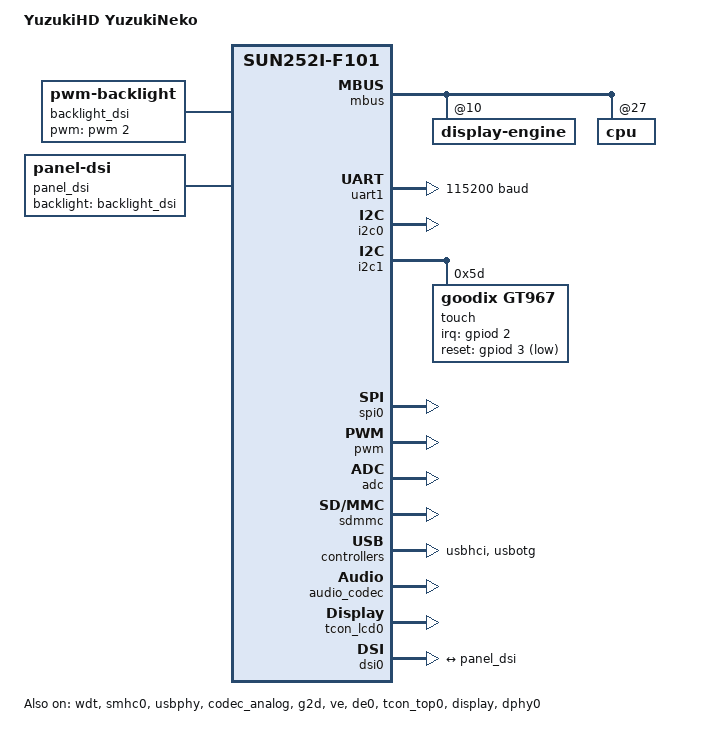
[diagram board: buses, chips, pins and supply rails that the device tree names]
/*
 * Copyright (c) 2026 Yuzuki Tsuru
 *
 * SPDX-License-Identifier: Apache-2.0
 */

/dts-v1/;

#include <allwinner/sun252i_f101.dtsi>
#include <zephyr/dt-bindings/display/sunxi-display.h>
#include <zephyr/dt-bindings/pwm/pwm.h>
#include <zephyr/dt-bindings/misc/sun252i-f101-mbus.h>

/ {
	model = "YuzukiHD YuzukiNeko";
	compatible = "yuzukihd,yuzukineko";

	chosen {
		zephyr,console = &uart1;
		zephyr,shell-uart = &uart1;
		zephyr,sram = &sram0;
		zephyr,display = &display;
		zephyr,touch = &touch;
	};

	aliases {
		i2c-0 = &i2c0;
	};
};

/*
 * Pin groups of the whole board. PD0..PD21 are LCD pins: the RGB panel of the EVB takes all of
 * them (so the DBI and SPI1 on PD0..PD5 stay off), the DSI panel of the carrier board takes
 * PD12..PD21 and PD9 as reset.
 */
&pio {
	/* UART1 console on PB00 (TX) / PB01 (RX), muxsel 4 */
	uart1_pins: uart1_pins {
		uart1_tx_rx {
			pinmux = <ALLWINNER_PINMUX(ALLWINNER_PIO_PB, 0, 4)
				  ALLWINNER_PINMUX(ALLWINNER_PIO_PB, 1, 4)>;
		};
	};

	/* I2C: TWI0 on PE08/PE09 (also UART3 of the EVB), TWI1 on PD0/PD1 (touch), TWI2 on PD10/PD11 */
	twi0_pins: twi0_pins {
		twi0_pins_group {
			pinmux = <ALLWINNER_PINMUX(ALLWINNER_PIO_PE, 8, 4)
				  ALLWINNER_PINMUX(ALLWINNER_PIO_PE, 9, 4)>;
			bias-pull-up;
		};
	};

	twi1_pins: twi1_pins {
		twi1_pins_group {
			pinmux = <ALLWINNER_PINMUX(ALLWINNER_PIO_PD, 0, 4)
				  ALLWINNER_PINMUX(ALLWINNER_PIO_PD, 1, 4)>;
			bias-pull-up;
		};
	};

	twi2_pins: twi2_pins {
		twi2_pins_group {
			pinmux = <ALLWINNER_PINMUX(ALLWINNER_PIO_PD, 10, 4)
				  ALLWINNER_PINMUX(ALLWINNER_PIO_PD, 11, 4)>;
			bias-pull-up;
		};
	};

	/* SPI0 on PC0..PC5 (the SPI NOR flash controller uses the same pins), SPI1 on PD0..PD5 */
	spi0_pins: spi0_pins {
		spi0_data {
			pinmux = <ALLWINNER_PINMUX(ALLWINNER_PIO_PC, 0, 3)
				  ALLWINNER_PINMUX(ALLWINNER_PIO_PC, 4, 3)
				  ALLWINNER_PINMUX(ALLWINNER_PIO_PC, 2, 3)>;
			bias-disable;
		};
		spi0_control {
			pinmux = <ALLWINNER_PINMUX(ALLWINNER_PIO_PC, 1, 3)
				  ALLWINNER_PINMUX(ALLWINNER_PIO_PC, 3, 3)
				  ALLWINNER_PINMUX(ALLWINNER_PIO_PC, 5, 3)>;
			bias-pull-up;
		};
	};

	spi1_pins: spi1_pins {
		spi1_data {
			pinmux = <ALLWINNER_PINMUX(ALLWINNER_PIO_PD, 1, 3)
				  ALLWINNER_PINMUX(ALLWINNER_PIO_PD, 2, 3)
				  ALLWINNER_PINMUX(ALLWINNER_PIO_PD, 3, 3)>;
			bias-disable;
		};
		spi1_control {
			pinmux = <ALLWINNER_PINMUX(ALLWINNER_PIO_PD, 0, 3)
				  ALLWINNER_PINMUX(ALLWINNER_PIO_PD, 4, 3)
				  ALLWINNER_PINMUX(ALLWINNER_PIO_PD, 5, 3)>;
			bias-pull-up;
		};
	};

	/* PWM0-2 on PD22 (carrier board backlight) */
	pwm0_pins: pwm0_pins {
		pwm0_group {
			/* PD22 is PWM0-2 */
			pinmux = <ALLWINNER_PINMUX(ALLWINNER_PIO_PD, 22, 4)>;
		};
	};

	/* MIPI DBI on PD0..PD3/PD5 */
	dbi1_pins: dbi1_pins {
		dbi1_group {
			pinmux = <ALLWINNER_PINMUX(ALLWINNER_PIO_PD, 0, 3)
				  ALLWINNER_PINMUX(ALLWINNER_PIO_PD, 1, 3)
				  ALLWINNER_PINMUX(ALLWINNER_PIO_PD, 2, 3)
				  ALLWINNER_PINMUX(ALLWINNER_PIO_PD, 3, 3)
				  ALLWINNER_PINMUX(ALLWINNER_PIO_PD, 5, 3)>;
			bias-disable;
		};
	};

	/* TF card slot on SMHC0 (PF0..PF5, shared with the JTAG port) */
	smhc0_pins: smhc0_pins {
		smhc0_clk {
			pinmux = <ALLWINNER_PINMUX(ALLWINNER_PIO_PF, 2, 2)>;
			bias-disable;
		};
		smhc0_cmd_data {
			pinmux = <ALLWINNER_PINMUX(ALLWINNER_PIO_PF, 3, 2)
				  ALLWINNER_PINMUX(ALLWINNER_PIO_PF, 1, 2)
				  ALLWINNER_PINMUX(ALLWINNER_PIO_PF, 0, 2)
				  ALLWINNER_PINMUX(ALLWINNER_PIO_PF, 5, 2)
				  ALLWINNER_PINMUX(ALLWINNER_PIO_PF, 4, 2)>;
			bias-pull-up;
		};
	};

	/* RGB panel: 18 bit parallel RGB on PD0..PD9, PD12..PD21, PE6, PE7 */
	rgb_pins: rgb_pins {
		rgb_lcd {
			pinmux = <ALLWINNER_PINMUX(ALLWINNER_PIO_PD, 0, 2)
				  ALLWINNER_PINMUX(ALLWINNER_PIO_PD, 1, 2)
				  ALLWINNER_PINMUX(ALLWINNER_PIO_PD, 2, 2)
				  ALLWINNER_PINMUX(ALLWINNER_PIO_PD, 3, 2)
				  ALLWINNER_PINMUX(ALLWINNER_PIO_PD, 4, 2)
				  ALLWINNER_PINMUX(ALLWINNER_PIO_PD, 5, 2)
				  ALLWINNER_PINMUX(ALLWINNER_PIO_PD, 6, 2)
				  ALLWINNER_PINMUX(ALLWINNER_PIO_PD, 7, 2)
				  ALLWINNER_PINMUX(ALLWINNER_PIO_PD, 8, 2)
				  ALLWINNER_PINMUX(ALLWINNER_PIO_PD, 9, 2)
				  ALLWINNER_PINMUX(ALLWINNER_PIO_PE, 6, 4)
				  ALLWINNER_PINMUX(ALLWINNER_PIO_PE, 7, 4)
				  ALLWINNER_PINMUX(ALLWINNER_PIO_PD, 12, 2)
				  ALLWINNER_PINMUX(ALLWINNER_PIO_PD, 13, 2)
				  ALLWINNER_PINMUX(ALLWINNER_PIO_PD, 14, 2)
				  ALLWINNER_PINMUX(ALLWINNER_PIO_PD, 15, 2)
				  ALLWINNER_PINMUX(ALLWINNER_PIO_PD, 16, 2)
				  ALLWINNER_PINMUX(ALLWINNER_PIO_PD, 17, 2)
				  ALLWINNER_PINMUX(ALLWINNER_PIO_PD, 18, 2)
				  ALLWINNER_PINMUX(ALLWINNER_PIO_PD, 19, 2)
				  ALLWINNER_PINMUX(ALLWINNER_PIO_PD, 20, 2)
				  ALLWINNER_PINMUX(ALLWINNER_PIO_PD, 21, 2)>;
		};
	};

	/* MIPI DSI panel: 4 lanes and the clock on PD12..PD21 */
	dsi_pins: dsi_pins {
		dsi_lanes {
			pinmux = <ALLWINNER_PINMUX(ALLWINNER_PIO_PD, 12, 4)
				  ALLWINNER_PINMUX(ALLWINNER_PIO_PD, 13, 4)
				  ALLWINNER_PINMUX(ALLWINNER_PIO_PD, 14, 4)
				  ALLWINNER_PINMUX(ALLWINNER_PIO_PD, 15, 4)
				  ALLWINNER_PINMUX(ALLWINNER_PIO_PD, 16, 4)
				  ALLWINNER_PINMUX(ALLWINNER_PIO_PD, 17, 4)
				  ALLWINNER_PINMUX(ALLWINNER_PIO_PD, 18, 4)
				  ALLWINNER_PINMUX(ALLWINNER_PIO_PD, 19, 4)
				  ALLWINNER_PINMUX(ALLWINNER_PIO_PD, 20, 4)
				  ALLWINNER_PINMUX(ALLWINNER_PIO_PD, 21, 4)>;
			allwinner,drive-level = <3>;
		};
	};
};

/* System */
&dma {
	status = "okay";
};

&wdt {
	status = "okay";
};

/* DE at top priority, RISCV capped */
&mbus {
	status = "okay";

	display-engine@10 {
		reg = <SUN252I_F101_MBUS_MASTER_DE>;
		priority = <3>;
	};

	cpu@27 {
		reg = <SUN252I_F101_MBUS_MASTER_RISCV>;
		bandwidth-limit-mbps = <500>;
	};
};

/* Console */
&uart1 {
	status = "okay";
	current-speed = <115200>;
	pinctrl-0 = <&uart1_pins>;
	pinctrl-names = "default";
};

/* Buses and converters */
&i2c0 {
	status = "okay";
	pinctrl-0 = <&twi0_pins>;
	pinctrl-names = "default";
};

/* touch panel controller (GT967) of the carrier board: SCL PD0, SDA PD1, INT PD2, RST PD3 */
&i2c1 {
	status = "okay";
	pinctrl-0 = <&twi1_pins>;
	pinctrl-names = "default";

	touch: touch@5d {
		compatible = "goodix,gt967";
		reg = <0x5d>;
		screen-width = <1024>;
		screen-height = <768>;
		irq-gpios = <&gpiod 2 GPIO_ACTIVE_HIGH>;
		reset-gpios = <&gpiod 3 GPIO_ACTIVE_LOW>;
	};
};

&spi0 {
	status = "okay";
	pinctrl-0 = <&spi0_pins>;
	pinctrl-names = "default";
};

/* PWM0-2 drives the backlight of the carrier board panel, see backlight_dsi */
&pwm {
	status = "okay";
	pinctrl-0 = <&pwm0_pins>;
	pinctrl-names = "default";
};

&adc {
	status = "okay";
};

/* pins shared with the LCD */
&dbi {
	status = "disabled";
	pinctrl-0 = <&dbi1_pins>;
	pinctrl-names = "default";
};

/* Storage */
/*
 * TF card slot on SMHC0 (4 bit, card detect on PF06, low with a card in). SMHC2
 * (the WiFi SDIO port) stays off: its clock pin PE02 is the USB VBUS switch.
 */
&smhc0 {
	pinctrl-0 = <&smhc0_pins>;
	pinctrl-names = "default";
	bus-width = <4>;
	cd-gpios = <&gpiof 6 GPIO_ACTIVE_LOW>;
	status = "okay";

	sdmmc {
		compatible = "zephyr,sdmmc-disk";
		disk-name = "SD";
		status = "okay";
	};
};

/* USB */
/*
 * USB 2.0 port: the OTG (device) controller and the EHCI/OHCI host controllers
 * share one PHY, an application starts the stack of the role it needs. PE02
 * drives VBUS for the host role.
 */
&usbphy {
	vbus-gpios = <&gpioe 2 0>;
	status = "okay";
};

&usbhci {
	status = "okay";
};

&usbotg {
	status = "okay";
};

/* Audio */
/*
 * On-chip audio codec: headphone out, the external speaker amplifier is enabled by PD4 (PHDN,
 * high = on; the EVB board file uses PE10). Its DMA streams use channels 1 (DAC) and 2 (ADC) of
 * the DMA controller.
 */
&audio_codec {
	status = "okay";
};

&codec_analog {
	pa-gpios = <&gpiod 4 GPIO_ACTIVE_HIGH>;
	status = "okay";
};

/* Multimedia accelerators */
/* 2D graphics accelerator */
&g2d {
	status = "okay";
};

/* Video engine: hardware JPEG, PNG and H.264 decoder */
&ve {
	status = "okay";
};

/*
 * Display: de0 -> tcon_lcd0 -> one of two outputs, only one of them is on:
 *
 *   rgb0 -> panel0          1024x600 RGB666 panel of the EVB (off here, the EVB board file
 *                           switches it on)
 *   dsi0 (dphy0) -> panel_dsi   1024x768 IPS MIPI DSI panel (JD9168S) of the carrier board:
 *                           4 lanes, reset PD9, backlight PWM0-2 on PD22
 */
&de0 {
	status = "okay";
	brightness = <50>;
	contrast = <50>;
	saturation = <57>;
	hue = <50>;
};

&tcon_top0 {
	status = "okay";
};

&tcon_lcd0 {
	status = "okay";
};

&display {
	status = "okay";
	width = <1024>;
	height = <768>;
};

/* RGB output */
&rgb0 {
	status = "disabled";
	pinctrl-0 = <&rgb_pins>;
	pinctrl-names = "default";
	hv-mode = <SUNXI_HV_PARALLEL_RGB>;
	rgb-swap = <5>;

	ports {
		#address-cells = <1>;
		#size-cells = <0>;

		port@1 {
			reg = <1>;
			#address-cells = <1>;
			#size-cells = <0>;

			endpoint@0 {
				reg = <0>;
				remote-endpoint = <&panel0>;
			};
		};
	};
};

/ {
	panel0: panel {
		status = "disabled";
		compatible = "panel-simple";
		width = <1024>;
		height = <600>;
		width-mm = <154>;
		height-mm = <86>;
		bus-format = "rgb666-1x18";
		enable-delay-ms = <50>;

		/* PD22 switches the panel supply */
		power-on-sequence = <SUNXI_CMD_GPIO(SUNXI_PIN(ALLWINNER_PIO_PD, 22), 1)
				     SUNXI_CMD_DELAY(30)>;
		power-off-sequence = <SUNXI_CMD_GPIO(SUNXI_PIN(ALLWINNER_PIO_PD, 22), 0)
				      SUNXI_CMD_DELAY(20)>;

		display-timings {
			compatible = "zephyr,panel-timing";
			clock-frequency = <49000000>;
			hsync-len = <20>;
			hfront-porch = <161>;
			hback-porch = <35>;
			vsync-len = <10>;
			vfront-porch = <15>;
			vback-porch = <25>;
			hsync-active = <0>;
			vsync-active = <0>;
			de-active = <1>;
			pixelclk-active = <1>;
		};
	};
};

/* MIPI DSI output */
&dphy0 {
	status = "okay";
};

&dsi0 {
	status = "okay";
	pinctrl-0 = <&dsi_pins>;
	pinctrl-names = "default";

	ports {
		#address-cells = <1>;
		#size-cells = <0>;

		port@1 {
			reg = <1>;
			#address-cells = <1>;
			#size-cells = <0>;

			endpoint@0 {
				reg = <0>;
				remote-endpoint = <&panel_dsi>;
			};
		};
	};
};

/ {
	/* PWM0-2 on PD22, low = on */
	backlight_dsi: backlight-dsi {
		compatible = "pwm-backlight";
		pwms = <&pwm 2 1000000 PWM_POLARITY_INVERTED>;
		max-level = <255>;
		default-level = <96>;
	};

	panel_dsi: panel-dsi {
		compatible = "panel-dsi";
		width = <1024>;
		height = <768>;
		width-mm = <65>;
		height-mm = <48>;
		data-lanes = <0 1 2 3>;
		mipi-dsi-format = "rgb888";
		mode-flags = <(SUNXI_DSI_MODE_VIDEO | SUNXI_DSI_MODE_VIDEO_SYNC_PULSE |
			       SUNXI_DSI_MODE_LPM)>;
		enable-delay-ms = <20>;
		backlight = <&backlight_dsi>;

		/* PD9 = reset */
		power-on-sequence = <SUNXI_CMD_GPIO(SUNXI_PIN(ALLWINNER_PIO_PD, 9), 1)
				     SUNXI_CMD_DELAY(100)
				     SUNXI_CMD_GPIO(SUNXI_PIN(ALLWINNER_PIO_PD, 9), 0)
				     SUNXI_CMD_DELAY(100)
				     SUNXI_CMD_GPIO(SUNXI_PIN(ALLWINNER_PIO_PD, 9), 1)
				     SUNXI_CMD_DELAY(100)>;
		init-sequence = <SUNXI_CMD_DCS(0, 4, 0xdf 0x91 0x68 0xf9)
				 SUNXI_CMD_DCS(0, 2, 0xde 0x00)
				 SUNXI_CMD_DCS(0, 3, 0xb2 0x00 0x7e)
				 SUNXI_CMD_DCS(0, 3, 0xb3 0x00 0x7e)
				 SUNXI_CMD_DCS(0, 7, 0xc1 0x00 0x10 0x00 0x00 0x00 0x00)
				 SUNXI_CMD_DCS(0, 8, 0xbb 0x02 0x24 0x07 0x61 0x19 0x44 0x44)
				 SUNXI_CMD_DCS(0, 3, 0xbe 0x1a 0xf2)
				 SUNXI_CMD_DCS(0, 15, 0xc3 0x10 0x17 0x5a 0x17 0x5a 0x05 0x05 0x05 0x05 0x15 0x15 0x31 0x05 0xdf)
				 SUNXI_CMD_DCS(0, 8, 0xc4 0x11 0x80 0x00 0xdf 0x09 0x06 0x14)
				 SUNXI_CMD_DCS(0, 24, 0xce 0x00 0x03 0x03 0x03 0x03 0x03 0x03 0x03 0x03 0x03 0x03 0x03 0x03 0x03 0x03 0x03 0x03 0x03 0x03 0x03 0x03 0x0f 0x03)
				 SUNXI_CMD_DCS(0, 10, 0xcf 0x00 0x01 0x40 0x01 0xca 0x01 0xca 0x01 0xca)
				 SUNXI_CMD_DCS(0, 24, 0xd0 0x00 0x1f 0x1f 0x1f 0x1f 0x1f 0x1f 0x1f 0x1f 0x1f 0x1f 0x03 0x01 0x05 0x07 0x09 0x0b 0x1e 0x15 0x1f 0x1f 0x15 0x1f)
				 SUNXI_CMD_DCS(0, 24, 0xd1 0x00 0x1f 0x1f 0x1f 0x1f 0x1f 0x1f 0x1f 0x1f 0x1f 0x1f 0x02 0x00 0x04 0x06 0x08 0x0a 0x1e 0x15 0x1f 0x1f 0x15 0x1f)
				 SUNXI_CMD_DCS(0, 24, 0xd2 0x00 0x1f 0x1f 0x1f 0x1f 0x1f 0x1f 0x1f 0x1f 0x1f 0x1f 0x00 0x02 0x0a 0x08 0x06 0x04 0x1f 0x15 0x1f 0x1f 0x15 0x1e)
				 SUNXI_CMD_DCS(0, 24, 0xd3 0x00 0x1f 0x1f 0x1f 0x1f 0x1f 0x1f 0x1f 0x1f 0x1f 0x1f 0x01 0x03 0x0b 0x09 0x07 0x05 0x1f 0x15 0x1f 0x1f 0x15 0x1e)
				 SUNXI_CMD_DCS(0, 38, 0xd4 0x30 0x00 0x00 0x04 0x00 0x06 0x00 0x00 0x00 0x00 0x00 0x03 0x03 0x00 0x11 0x00 0x01 0xc0 0x04 0x01 0x01 0x11 0x80 0x01 0xc0 0x05 0x01 0x01 0x00 0x00 0x00 0x04 0x00 0x06 0x18 0x02 0xe3)
				 SUNXI_CMD_DCS(0, 9, 0xd5 0x68 0x73 0x00 0x08 0x08 0x00 0x03 0x00)
				 SUNXI_CMD_DCS(0, 7, 0xb7 0x00 0xd8 0x00 0x00 0xd8 0x00)
				 SUNXI_CMD_DCS(0, 39, 0xc8 0x7f 0x69 0x5a 0x4e 0x4a 0x3b 0x40 0x2a 0x44 0x43 0x44 0x63 0x51 0x59 0x4c 0x48 0x3a 0x28 0x0f 0x7f 0x69 0x5a 0x4e 0x4a 0x3b 0x40 0x2a 0x44 0x43 0x44 0x63 0x51 0x59 0x4c 0x48 0x3a 0x28 0x0f)
				 SUNXI_CMD_DCS(0, 2, 0xde 0x02)
				 SUNXI_CMD_DCS(0, 5, 0xbb 0x00 0x5b 0x5c 0x41)
				 SUNXI_CMD_DCS(0, 4, 0xb5 0x00 0x5a 0x0a)
				 SUNXI_CMD_DCS(0, 2, 0xc6 0x22)
				 SUNXI_CMD_DCS(0, 2, 0xd7 0x12)
				 SUNXI_CMD_DCS(0, 3, 0xe7 0x00 0x00)
				 SUNXI_CMD_DCS(0, 2, 0xde 0x04)
				 SUNXI_CMD_DCS(0, 2, 0xcc 0x02)
				 SUNXI_CMD_DCS(0, 2, 0xe7 0x01)
				 SUNXI_CMD_DCS(0, 2, 0xde 0x00)
				 SUNXI_CMD_DCS(0, 2, 0x35 0x00)
				 SUNXI_CMD_DCS(120, 1, 0x11)
				 SUNXI_CMD_DCS(20, 1, 0x29)>;
		exit-sequence = <SUNXI_CMD_DCS(0, 1, 0x28)		/* display off */
				 SUNXI_CMD_DCS(120, 1, 0x10)>;	/* enter sleep */
		power-off-sequence = <SUNXI_CMD_GPIO(SUNXI_PIN(ALLWINNER_PIO_PD, 9), 0)>;

		display-timings {
			compatible = "zephyr,panel-timing";
			clock-frequency = <54000000>;
			hsync-len = <10>;
			hfront-porch = <40>;
			hback-porch = <40>;
			vsync-len = <8>;
			vfront-porch = <12>;
			vback-porch = <21>;
			hsync-active = <0>;
			vsync-active = <0>;
			de-active = <0>;
			pixelclk-active = <0>;
		};
	};
};
